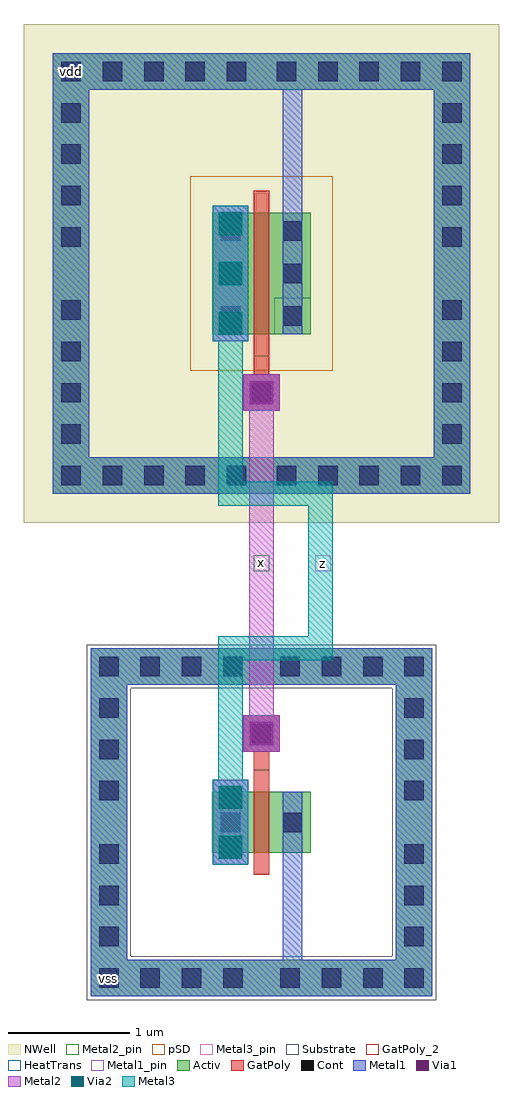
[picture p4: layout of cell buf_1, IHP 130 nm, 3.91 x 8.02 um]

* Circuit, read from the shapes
.subckt buf_1 vdd vss x z
XM1 vss x z vss sg13_lv_nmos w=0.5u l=0.13u
XM2 vdd x z vdd sg13_lv_pmos w=1u l=0.13u
.ends

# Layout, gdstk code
import gdstk
lib = gdstk.Library(unit=1e-6, precision=1e-09)
def R(c, l, rs):  # rectangles x0, y0, x1, y1
    for r in rs: c.add(gdstk.rectangle(r[:2], r[2:], *l))
def A(c, l, x, y, w, h, nx, ny, dx, dy):  # array of equal rectangles
    R(c, l, [(x+i*dx, y+j*dy, x+i*dx+w, y+j*dy+h) for i in range(nx) for j in range(ny)])
def P(c, l, *ps):  # polygons
    for p in ps: c.add(gdstk.Polygon(p, *l))
Activ = (1, 0)
GatPoly = (5, 0)
GatPoly_2 = (5, 2)
Cont = (6, 0)
Metal1 = (8, 0)
Metal1_pin = (8, 2)
Metal2 = (10, 0)
Metal2_pin = (10, 2)
pSD = (14, 0)
Via1 = (19, 0)
Via2 = (29, 0)
Metal3 = (30, 0)
Metal3_pin = (30, 2)
NWell = (31, 0)
Substrate = (40, 0)
HeatTrans = (51, 0)

via_stack_7 = lib.new_cell('via_stack$7')
R(via_stack_7, Metal1, [(-0.145,-0.35,0.145,0.35)])
R(via_stack_7, Metal2, [(-0.145,-0.35,0.145,0.35)])
R(via_stack_7, Via1, [(-0.095,-0.3,0.095,-0.11), (-0.095,0.11,0.095,0.3)])
R(via_stack_7, Via2, [(-0.095,-0.3,0.095,-0.11), (-0.095,0.11,0.095,0.3)])
R(via_stack_7, Metal3, [(-0.145,-0.35,0.145,0.35)])

via_stack_8 = lib.new_cell('via_stack$8')
R(via_stack_8, Metal1, [(-0.145,-0.555,0.145,0.555)])
R(via_stack_8, Metal2, [(-0.145,-0.555,0.145,0.555)])
A(via_stack_8, Via1, -0.095, -0.505, 0.19, 0.19, 1, 3, 0, 0.41)
A(via_stack_8, Via2, -0.095, -0.505, 0.19, 0.19, 1, 3, 0, 0.41)
R(via_stack_8, Metal3, [(-0.145,-0.555,0.145,0.555)])

via_4 = lib.new_cell('Via$4')
R(via_4, Metal1, [(-0.15,-0.15,0.15,0.15)])
R(via_4, Metal2, [(-0.15,-0.15,0.15,0.15)])
R(via_4, Via1, [(-0.095,-0.095,0.095,0.095)])

via = lib.new_cell('Via')
R(via, GatPoly, [(-0.15,-0.15,0.15,0.15)])
R(via, Cont, [(-0.08,-0.08,0.08,0.08)])
R(via, Metal1, [(-0.15,-0.15,0.15,0.15)])

nmos_7 = lib.new_cell('nmos$7')
R(nmos_7, Activ, [(-1,-0.88,-0.7,1.38), (1.51,-0.88,1.81,1.38), (0,0,0.3,0.3), (0,0,0.81,0.5), (0.51,0,0.81,0.3), (-1,1.38,1.81,1.68)])
P(nmos_7, Activ, [(-1,-1.18),(-1,1.38),(-0.7,1.38),(-0.7,-0.88),(1.51,-0.88),(1.51,1.38),(-1,1.38),(-1,1.68),(1.81,1.68),(1.81,-1.18)])
R(nmos_7, GatPoly, [(0.34,-0.18,0.47,0.68)])
R(nmos_7, GatPoly_2, [(0.34,-0.18,0.47,0.68)])
A(nmos_7, Cont, -0.93, -1.11, 0.16, 0.16, 4, 2, 0.34, 2.56)
A(nmos_7, Cont, 0.56, -1.11, 0.16, 0.16, 4, 2, 0.34, 2.56)
A(nmos_7, Cont, -0.93, -0.77, 0.16, 0.16, 1, 3, 0, 0.34)
A(nmos_7, Cont, 1.58, -0.77, 0.16, 0.16, 1, 3, 0, 0.34)
A(nmos_7, Cont, -0.93, 0.43, 0.16, 0.16, 1, 3, 0, 0.34)
A(nmos_7, Cont, 1.58, 0.43, 0.16, 0.16, 1, 3, 0, 0.34)
R(nmos_7, Cont, [(0.07,0.17,0.23,0.33), (0.58,0.17,0.74,0.33)])
R(nmos_7, Metal1, [(-1,-1.18,1.81,-0.88), (-1,-0.88,-0.7,1.38), (1.51,-0.88,1.81,1.38), (0.07,0,0.23,0.5), (0.58,0,0.74,0.5), (-1,1.38,1.81,1.68)])
R(nmos_7, Metal1_pin, [(0.07,0,0.23,0.5), (0.58,0,0.74,0.5)])
R(nmos_7, pSD, [(-1.03,-0.85,-0.67,1.35), (1.48,-0.85,1.84,1.35), (-1.03,1.35,1.84,1.71)])
P(nmos_7, pSD, [(-1.03,-1.21),(-1.03,1.35),(-0.67,1.35),(-0.67,-0.85),(1.48,-0.85),(1.48,1.35),(-1.03,1.35),(-1.03,1.71),(1.84,1.71),(1.84,-1.21)])
R(nmos_7, Substrate, [(-1.03,-0.85,-0.67,1.35), (1.48,-0.85,1.84,1.35), (-1.03,1.35,1.84,1.71)])
P(nmos_7, Substrate, [(-1.03,-1.21),(-1.03,1.35),(-0.67,1.35),(-0.67,-0.85),(1.48,-0.85),(1.48,1.35),(-1.03,1.35),(-1.03,1.71),(1.84,1.71),(1.84,-1.21)])
R(nmos_7, HeatTrans, [(0.34,-0.18,0.47,0.68)])
nmos_7.add(gdstk.Label('nmos', (0.405,0.25), layer=63, texttype=0))
nmos_7.add(gdstk.Label('sub!', (0.405,-1.03), layer=63, texttype=0))
nmos_7.add(gdstk.Label('nmos', (0.405,0.25), layer=51, texttype=0))

pmos_2 = lib.new_cell('pmos$2')
R(pmos_2, Activ, [(-1.31,-1.01,-1.01,2.01), (1.82,-1.01,2.12,2.01), (0,0,0.3,0.3), (0,0,0.81,1), (0.51,0,0.81,0.3), (-1.31,2.01,2.12,2.31)])
P(pmos_2, Activ, [(-1.31,-1.31),(-1.31,2.01),(-1.01,2.01),(-1.01,-1.01),(1.82,-1.01),(1.82,2.01),(-1.31,2.01),(-1.31,2.31),(2.12,2.31),(2.12,-1.31)])
R(pmos_2, GatPoly, [(0.34,-0.18,0.47,1.18), (0.34,-0.18,0.47,1.18)])
A(pmos_2, Cont, -1.24, -1.24, 0.16, 0.16, 5, 2, 0.34, 3.32)
A(pmos_2, Cont, 0.53, -1.24, 0.16, 0.16, 5, 2, 0.34, 3.32)
A(pmos_2, Cont, -1.24, -0.9, 0.16, 0.16, 1, 4, 0, 0.34)
A(pmos_2, Cont, 1.89, -0.9, 0.16, 0.16, 1, 4, 0, 0.34)
A(pmos_2, Cont, 0.07, 0.07, 0.16, 0.16, 1, 3, 0, 0.35)
A(pmos_2, Cont, 0.58, 0.07, 0.16, 0.16, 1, 3, 0, 0.35)
A(pmos_2, Cont, -1.24, 0.72, 0.16, 0.16, 1, 4, 0, 0.34)
A(pmos_2, Cont, 1.89, 0.72, 0.16, 0.16, 1, 4, 0, 0.34)
R(pmos_2, Metal1, [(-1.31,-1.31,2.12,-1.01), (-1.31,-1.01,-1.01,2.01), (1.82,-1.01,2.12,2.01), (0.07,0,0.23,1), (0.07,0,0.23,1), (0.58,0,0.74,1), (0.58,0,0.74,1), (-1.31,2.01,2.12,2.31)])
R(pmos_2, pSD, [(-0.18,-0.3,0.99,1.3)])
R(pmos_2, NWell, [(-1.55,-1.55,2.36,2.55), (-0.31,-0.31,1.12,1.31)])
R(pmos_2, Substrate, [(0.51,0,0.81,0.3)])
R(pmos_2, HeatTrans, [(0.34,-0.18,0.47,1.18)])
pmos_2.add(gdstk.Label('pmos', (0.405,0.5), layer=63, texttype=0))
pmos_2.add(gdstk.Label('well', (0.405,-1.16), layer=63, texttype=0))
pmos_2.add(gdstk.Label('pmos', (0.405,0.5), layer=51, texttype=0))

buf_1 = lib.new_cell('buf_1')
R(buf_1, Metal1_pin, [(0.635,0.115,0.765,0.245), (0.325,7.565,0.455,7.695)])
R(buf_1, Metal2_pin, [(1.89,3.525,2.02,3.655)])
R(buf_1, Metal3_pin, [(2.395,3.525,2.525,3.655)])
buf_1.add(gdstk.FlexPath([(1.955,5.14),(1.955,2.04)], 0.2, ends="flush", simple_path=True, layer=10, datatype=0))  # Metal2
buf_1.add(gdstk.FlexPath([(1.7,5.47),(1.7,4.16),(2.54,4.16)], 0.2, ends="flush", simple_path=True, layer=30, datatype=0))  # Metal3
buf_1.add(gdstk.FlexPath([(2.44,4.26),(2.44,2.79)], 0.2, ends="flush", simple_path=True, layer=30, datatype=0))  # Metal3
buf_1.add(gdstk.FlexPath([(1.7,1.71),(1.7,2.89),(2.54,2.89)], 0.2, ends="flush", simple_path=True, layer=30, datatype=0))  # Metal3
buf_1.add(gdstk.FlexPath([(2.21,6.47),(2.21,7.78)], 0.16, ends="flush", simple_path=True, layer=8, datatype=0))  # Metal1
buf_1.add(gdstk.FlexPath([(2.21,0.03),(2.21,1.21)], 0.16, ends="flush", simple_path=True, layer=8, datatype=0))  # Metal1
buf_1.add(gdstk.FlexPath([(1.955,5.29),(1.955,4.99)], 0.13, ends="flush", simple_path=True, layer=5, datatype=0))  # GatPoly
buf_1.add(gdstk.FlexPath([(1.955,1.89),(1.955,2.19)], 0.13, ends="flush", simple_path=True, layer=5, datatype=0))  # GatPoly
buf_1.add(gdstk.Reference(via_stack_7, (1.7,1.46)))
buf_1.add(gdstk.Reference(via_stack_8, (1.7,5.97)))
buf_1.add(gdstk.Reference(via_4, (1.955,2.19)))
buf_1.add(gdstk.Reference(via_4, (1.955,4.99)))
buf_1.add(gdstk.Reference(via, (1.955,2.19)))
buf_1.add(gdstk.Reference(via, (1.955,4.99)))
buf_1.add(gdstk.Reference(nmos_7, (1.55,1.21)))
buf_1.add(gdstk.Reference(pmos_2, (1.55,5.47)))
buf_1.add(gdstk.Label('vdd', (0.39,7.63), layer=8, texttype=25))
buf_1.add(gdstk.Label('vss', (0.7,0.18), layer=8, texttype=25))
buf_1.add(gdstk.Label('x', (1.956,3.591), layer=10, texttype=25))
buf_1.add(gdstk.Label('z', (2.46,3.585), layer=30, texttype=25))

lib.write_gds('buf_1.gds')
